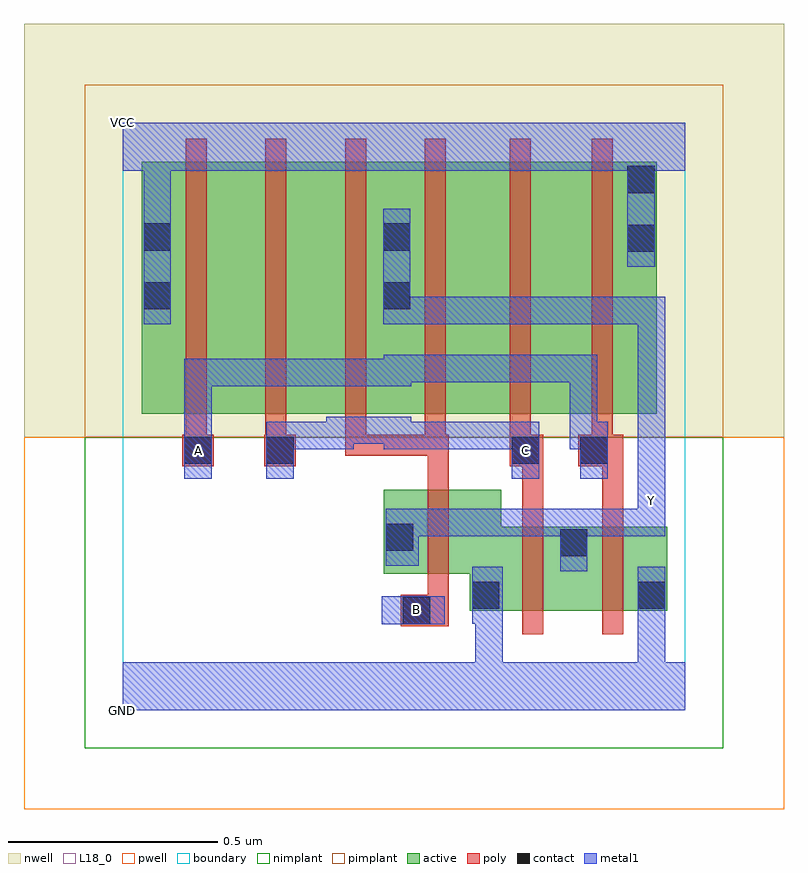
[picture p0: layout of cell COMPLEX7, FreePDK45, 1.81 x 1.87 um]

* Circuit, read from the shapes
.subckt COMPLEX7 A B C GND VCC Y
M1 GND B Y VSUBS nfet w=0.2u l=0.05u
M2 Y C GND VSUBS nfet w=0.2u l=0.05u
M3 GND A Y VSUBS nfet w=0.2u l=0.05u
M4 n1 A VCC n2 pfet w=0.6u l=0.05u
M5 n3 C n1 n2 pfet w=0.6u l=0.05u
M6 Y B n3 n2 pfet w=0.6u l=0.05u
M7 n4 B Y n2 pfet w=0.6u l=0.05u
M8 n5 C n4 n2 pfet w=0.6u l=0.05u
M9 VCC A n5 n2 pfet w=0.6u l=0.05u
.ends

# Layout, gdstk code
import gdstk
lib = gdstk.Library(unit=1e-6, precision=1e-09)
def R(c, l, rs):  # rectangles x0, y0, x1, y1
    for r in rs: c.add(gdstk.rectangle(r[:2], r[2:], *l))
def A(c, l, x, y, w, h, nx, ny, dx, dy):  # array of equal rectangles
    R(c, l, [(x+i*dx, y+j*dy, x+i*dx+w, y+j*dy+h) for i in range(nx) for j in range(ny)])
active = (1, 0)
pwell = (2, 0)
nwell = (3, 0)
nimplant = (4, 0)
pimplant = (5, 0)
poly = (9, 0)
contact = (10, 0)
metal1 = (11, 0)
L18_0 = (18, 0)
boundary = (235, 0)

complex7 = lib.new_cell('COMPLEX7')
R(complex7, active, [(0.827,0.237,1.112,0.437), (0.827,0.237,0.902,0.397), (1.037,0.237,1.297,0.437), (1.222,0.237,1.297,0.437), (1.037,0.257,1.112,0.437), (0.622,0.325,0.902,0.525), (0.622,0.357,0.697,0.525), (0.045,0.707,0.27,1.307), (0.045,0.707,0.12,1.305), (0.27,0.707,0.46,1.307), (0.46,0.707,0.69,1.307), (0.615,0.707,0.84,1.307), (0.615,0.707,0.69,1.2), (0.84,0.707,1.042,1.307), (1.042,0.707,1.272,1.307), (1.197,0.707,1.272,1.307)])
R(complex7, pwell, [(-0.235,-0.235,1.575,0.65)])
R(complex7, nwell, [(-0.235,0.65,1.575,1.635)])
R(complex7, nimplant, [(-0.09,-0.09,1.43,0.65)])
R(complex7, pimplant, [(-0.09,0.65,1.43,1.49)])
A(complex7, poly, 0.15, 0.607, 0.05, 0.095, 4, 1, 0.19, 0)
A(complex7, poly, 0.15, 0.652, 0.05, 0.71, 4, 1, 0.19, 0)
R(complex7, poly, [(0.952,0.182,1.002,0.492), (1.142,0.182,1.192,0.492), (0.662,0.2,0.777,0.275), (0.727,0.225,0.777,0.32), (0.727,0.27,0.777,0.58), (0.952,0.442,1.002,0.632), (1.142,0.442,1.192,0.632), (0.727,0.53,0.777,0.657), (0.142,0.582,0.217,0.657), (0.337,0.582,0.412,0.657), (0.922,0.582,1.002,0.657), (1.085,0.582,1.192,0.657), (0.53,0.607,0.77,0.657), (0.53,0.607,0.58,0.657), (0.53,0.607,0.58,0.657), (0.53,0.607,0.58,0.657), (0.72,0.607,0.777,0.657), (0.922,0.607,0.972,0.702), (1.117,0.607,1.167,0.702), (0.922,0.652,0.972,1.362), (1.117,0.652,1.167,1.362)])
R(complex7, contact, [(0.667,0.205,0.732,0.27), (0.832,0.242,0.897,0.307), (1.227,0.242,1.292,0.307), (1.042,0.367,1.107,0.432), (0.627,0.38,0.692,0.445), (0.147,0.587,0.212,0.652), (0.342,0.587,0.407,0.652), (0.927,0.587,0.992,0.652), (1.09,0.587,1.155,0.652), (0.05,0.955,0.115,1.02), (0.62,0.955,0.685,1.02), (1.202,1.092,1.267,1.157), (0.05,1.095,0.115,1.16), (0.62,1.095,0.685,1.16), (1.202,1.232,1.267,1.297)])
R(complex7, metal1, [(0,0,1.34,0.115), (0.84,0.05,0.905,0.115), (0.84,0.05,0.905,0.115), (0.84,0.05,0.905,0.272), (1.227,0.05,1.292,0.115), (1.227,0.05,1.292,0.115), (1.227,0.05,1.292,0.272), (0.617,0.205,0.767,0.272), (0.832,0.207,0.905,0.342), (0.84,0.207,0.905,0.272), (0.84,0.207,0.905,0.272), (0.84,0.207,0.905,0.272), (0.84,0.207,0.905,0.272), (1.227,0.207,1.292,0.272), (1.227,0.207,1.292,0.272), (1.227,0.207,1.292,0.272), (1.227,0.207,1.292,0.272), (1.227,0.207,1.292,0.342), (1.042,0.332,1.107,0.48), (0.627,0.345,0.705,0.48), (0.64,0.415,0.705,0.48), (0.64,0.415,0.705,0.48), (0.64,0.415,0.97,0.48), (0.905,0.415,0.97,0.48), (0.905,0.415,0.97,0.48), (0.905,0.415,0.97,0.48), (0.905,0.415,1.107,0.48), (1.042,0.415,1.155,0.48), (1.09,0.415,1.155,0.48), (1.09,0.415,1.292,0.48), (1.227,0.415,1.292,0.48), (1.227,0.415,1.292,0.48), (1.227,0.415,1.292,0.567), (1.227,0.502,1.292,0.985), (1.227,0.502,1.292,0.567), (1.227,0.502,1.292,0.567), (0.147,0.552,0.212,0.687), (0.342,0.552,0.407,0.687), (0.927,0.552,0.992,0.687), (1.09,0.552,1.155,0.687), (0.147,0.622,0.212,0.687), (0.147,0.622,0.212,0.687), (0.147,0.622,0.212,0.837), (0.342,0.622,0.407,0.687), (0.342,0.622,0.407,0.687), (0.342,0.622,0.55,0.687), (0.485,0.622,0.55,0.7), (0.622,0.622,0.97,0.687), (0.622,0.622,0.687,0.7), (0.905,0.622,0.97,0.687), (0.905,0.622,0.992,0.687), (1.065,0.622,1.13,0.687), (1.065,0.622,1.155,0.687), (1.065,0.622,1.13,0.847), (0.485,0.635,0.687,0.7), (0.622,0.635,0.687,0.7), (0.622,0.635,0.687,0.7), (0.147,0.772,0.212,0.837), (0.147,0.772,0.35,0.837), (0.285,0.772,0.35,0.837), (0.285,0.772,0.35,0.837), (0.285,0.772,0.35,0.837), (0.285,0.772,0.545,0.837), (0.48,0.772,0.545,0.837), (0.48,0.772,0.687,0.837), (0.622,0.772,0.687,0.837), (0.622,0.772,0.687,0.837), (0.622,0.772,0.687,0.847), (0.622,0.782,0.915,0.847), (0.85,0.782,0.915,0.847), (0.85,0.782,0.915,0.847), (0.85,0.782,0.915,0.847), (0.85,0.782,1.13,0.847), (1.065,0.782,1.13,0.847), (0.05,0.92,0.115,1.195), (0.62,0.92,0.685,1.195), (0.62,0.92,0.777,0.985), (0.712,0.92,0.777,0.985), (0.712,0.92,0.97,0.985), (0.905,0.92,0.97,0.985), (0.905,0.92,0.97,0.985), (0.905,0.92,0.97,0.985), (0.905,0.92,1.107,0.985), (1.042,0.92,1.107,0.985), (1.042,0.92,1.292,0.985), (1.227,0.92,1.292,0.985), (1.227,0.92,1.292,0.985), (1.227,0.92,1.292,0.985), (1.202,1.057,1.267,1.332), (0.05,1.13,0.115,1.35), (1.202,1.267,1.267,1.35), (0,1.285,1.34,1.4)])
R(complex7, L18_0, [(0,0,1.34,0.115), (0.84,0.05,0.905,0.115), (0.84,0.05,0.905,0.115), (0.84,0.05,0.905,0.272), (1.227,0.05,1.292,0.115), (1.227,0.05,1.292,0.115), (1.227,0.05,1.292,0.272), (0.617,0.205,0.767,0.272), (0.667,0.207,0.732,0.272), (0.832,0.207,0.905,0.342), (0.84,0.207,0.905,0.272), (0.84,0.207,0.905,0.272), (0.84,0.207,0.905,0.272), (0.84,0.207,0.905,0.272), (1.227,0.207,1.292,0.342), (1.227,0.207,1.292,0.272), (1.227,0.207,1.292,0.272), (1.227,0.207,1.292,0.272), (1.227,0.207,1.292,0.272), (1.042,0.332,1.107,0.48), (0.627,0.345,0.705,0.48), (0.64,0.415,0.705,0.48), (0.64,0.415,0.705,0.48), (0.64,0.415,0.97,0.48), (0.905,0.415,0.97,0.48), (0.905,0.415,0.97,0.48), (0.905,0.415,0.97,0.48), (0.905,0.415,1.107,0.48), (1.042,0.415,1.155,0.48), (1.09,0.415,1.155,0.48), (1.09,0.415,1.292,0.48), (1.227,0.415,1.292,0.48), (1.227,0.415,1.292,0.48), (1.227,0.415,1.292,0.567), (1.227,0.467,1.292,0.532), (1.227,0.502,1.292,0.567), (1.227,0.502,1.292,0.567), (1.227,0.502,1.292,0.985), (0.147,0.552,0.212,0.687), (0.342,0.552,0.407,0.687), (0.927,0.552,0.992,0.687), (1.09,0.552,1.155,0.687), (0.147,0.587,0.212,0.652), (0.927,0.587,0.992,0.652), (0.147,0.622,0.212,0.687), (0.147,0.622,0.212,0.687), (0.147,0.622,0.212,0.837), (0.342,0.622,0.407,0.687), (0.342,0.622,0.407,0.687), (0.342,0.622,0.55,0.687), (0.485,0.622,0.55,0.7), (0.622,0.622,0.687,0.7), (0.622,0.622,0.97,0.687), (0.905,0.622,0.97,0.687), (0.905,0.622,0.992,0.687), (1.065,0.622,1.13,0.687), (1.065,0.622,1.13,0.847), (1.065,0.622,1.155,0.687), (0.485,0.635,0.687,0.7), (0.622,0.635,0.687,0.7), (0.622,0.635,0.687,0.7), (0.147,0.772,0.212,0.837), (0.147,0.772,0.35,0.837), (0.285,0.772,0.35,0.837), (0.285,0.772,0.35,0.837), (0.285,0.772,0.35,0.837), (0.285,0.772,0.545,0.837), (0.48,0.772,0.545,0.837), (0.48,0.772,0.687,0.837), (0.622,0.772,0.687,0.837), (0.622,0.772,0.687,0.837), (0.622,0.772,0.687,0.847), (0.622,0.782,0.915,0.847), (0.85,0.782,0.915,0.847), (0.85,0.782,0.915,0.847), (0.85,0.782,0.915,0.847), (0.85,0.782,1.13,0.847), (1.065,0.782,1.13,0.847), (0.05,0.92,0.115,1.195), (0.62,0.92,0.685,1.195), (0.62,0.92,0.777,0.985), (0.712,0.92,0.777,0.985), (0.712,0.92,0.97,0.985), (0.905,0.92,0.97,0.985), (0.905,0.92,0.97,0.985), (0.905,0.92,0.97,0.985), (0.905,0.92,1.107,0.985), (1.042,0.92,1.107,0.985), (1.042,0.92,1.292,0.985), (1.227,0.92,1.292,0.985), (1.227,0.92,1.292,0.985), (1.227,0.92,1.292,0.985), (1.202,1.057,1.267,1.332), (0.05,1.13,0.115,1.35), (1.202,1.267,1.267,1.35), (0,1.285,1.34,1.4)])
R(complex7, boundary, [(0,0,1.34,1.4)])
complex7.add(gdstk.Label('A', (0.18,0.62), layer=11, texttype=0))
complex7.add(gdstk.Label('B', (0.7,0.24), layer=11, texttype=0))
complex7.add(gdstk.Label('C', (0.96,0.62), layer=11, texttype=0))
complex7.add(gdstk.Label('Y', (1.26,0.5), layer=11, texttype=0))
complex7.add(gdstk.Label('VCC', (0,1.4), layer=11, texttype=0))
complex7.add(gdstk.Label('GND', (0,0), layer=11, texttype=0))

lib.write_gds('COMPLEX7.gds')
